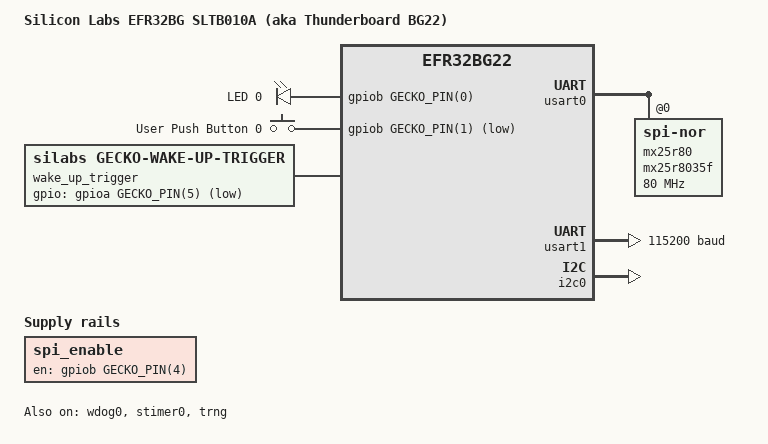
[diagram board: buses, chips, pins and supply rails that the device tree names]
/*
 * Copyright (c) 2021 Sateesh Kotapati
 *
 * SPDX-License-Identifier: Apache-2.0
 */

/dts-v1/;
#include <silabs/efr32bg22c224f512im40.dtsi>
#include <silabs/efr32bg22-pinctrl.dtsi>

/ {
	model = "Silicon Labs EFR32BG SLTB010A (aka Thunderboard BG22)";
	compatible = "silabs,efr32bg_sltb010a", "silabs,efr32bg22";

	/* These aliases are provided for compatibility with samples */
	aliases {
		led0 = &led0;
		sw0 = &button0;
		spi-flash0 = &mx25r80;
		spi0 = &usart0;
		watchdog0 = &wdog0;
	};

	chosen {
		zephyr,console = &usart1;
		zephyr,shell-uart = &usart1;
		zephyr,sram = &sram0;
		zephyr,flash = &flash0;
	};

	leds {
		compatible = "gpio-leds";
		led0: led_0 {
			gpios = <&gpiob GECKO_PIN(0) GPIO_ACTIVE_HIGH>;
			label = "LED 0";
		};
	};

	buttons {
		compatible = "gpio-keys";
		button0: button_0 {
			gpios = <&gpiob GECKO_PIN(1) GPIO_ACTIVE_LOW>;
			label = "User Push Button 0";
		};
	};

	wake_up_trigger: gpio-wake-up  {
		compatible = "silabs,gecko-wake-up-trigger";
		gpios = <&gpioa GECKO_PIN(5) GPIO_ACTIVE_LOW>;
	};

	spi_enable: peripheral-enable {
		compatible = "regulator-fixed";
		regulator-name = "spi-enable-ctrl";
		enable-gpios = <&gpiob GECKO_PIN(4) GPIO_ACTIVE_HIGH>;
	};

};

&cpu0 {
	clock-frequency = <76800000>;
};

&usart0 {
	status = "okay";
	pinctrl-0 = <&usart0_default>;
	pinctrl-names = "default";

	cs-gpios = <&gpioc 3 GPIO_ACTIVE_LOW>;

	mx25r80: mx25r8035f@0 {
		compatible = "jedec,spi-nor";
		reg = <0>;
		spi-max-frequency = <80000000>;
		size = <0x800000>;
		jedec-id = [c2 28 14];
		sfdp-bfp = [
			 e5 20 f1 ff  ff ff 7f 00  44 eb 08 6b  08 3b 04 bb
			 ee ff ff ff  ff ff 00 ff  ff ff 00 ff  0c 20 0f 52
			 10 d8 00 ff  23 72 f5 00  82 ed 04 b7  44 83 38 44
			 30 b0 30 b0  f7 c4 d5 5c  00 be 29 ff  f0 d0 ff ff
		];
	};
};

&usart1 {
	current-speed = <115200>;
	status = "okay";
	pinctrl-0 = <&usart1_default>;
	pinctrl-names = "default";
};

&wdog0 {
	status = "okay";
};

&flash0 {
	partitions {
		compatible = "fixed-partitions";
		#address-cells = <1>;
		#size-cells = <1>;

		/* Reserve 32 kB for the bootloader */
		boot_partition: partition@0 {
			label = "mcuboot";
			reg = <0x0 0x00008000>;
			read-only;
		};

		/* Reserve 220 kB for the application in slot 0 */
		slot0_partition: partition@8000 {
			label = "image-0";
			reg = <0x0008000 0x00037000>;
		};

		/* Reserve 220 kB for the application in slot 1 */
		slot1_partition: partition@3f000 {
			label = "image-1";
			reg = <0x0003f000 0x00037000>;
		};

		/* Reserve 32 kB for the scratch partition */
		scratch_partition: partition@76000 {
			label = "image-scratch";
			reg = <0x00076000 0x00008000>;
		};

		/* Set 8Kb of storage at the end of the 512KB of flash */
		storage_partition: partition@7e000 {
			label = "storage";
			reg = <0x0007e000 0x00002000>;
		};

	};
};

&gpio {
	location-swo = <0>;
	status = "okay";
};

&gpioa {
	status = "okay";
};

&gpiob {
	status = "okay";
};

&gpioc {
	status = "okay";
};

&stimer0 {
	status = "okay";
};

&trng {
	status = "okay";
};

&i2c0 {
	location-sda = <GECKO_LOCATION(3) GECKO_PORT_D GECKO_PIN(2)>;
	location-scl = <GECKO_LOCATION(3) GECKO_PORT_D GECKO_PIN(3)>;
	status = "okay";
};
